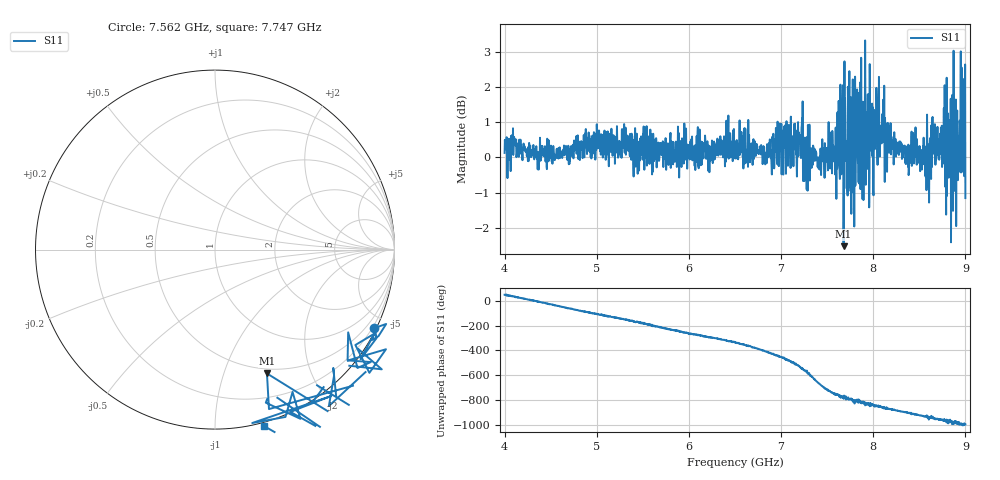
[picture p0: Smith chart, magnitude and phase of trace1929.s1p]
! Created with skrf 1.8.0 (http://scikit-rf.org).
# Hz S RI R 50.0
!freq ReS11 ImS11
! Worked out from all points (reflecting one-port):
!   1601 points, 4 GHz to 9 GHz, reference 50 ohm
!   lowest |S11| = -2.5 dB at 7.678 GHz (marker M1), VSWR 6.94, Z = 22.4 - j70.3 ohm
!   phase of S11 starts at 50 deg and turns -1048 deg over the sweep
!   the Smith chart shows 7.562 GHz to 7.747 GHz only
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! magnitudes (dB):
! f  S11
! 4 GHz  0.1
! 4.625 GHz  0.0
! 5.25 GHz  0.1
! 5.875 GHz  -0.1
! 6.5 GHz  0.5
! 7.125 GHz  0.6
! 7.209 GHz  0.6
! 7.262 GHz  0.2
! 7.284 GHz  0.6
! 7.416 GHz  0.0
! 7.678 GHz  -2.5
! 7.7 GHz  0.0
! 7.75 GHz  -0.8
! 7.784 GHz  0.8
! 7.822 GHz  0.9
! 7.875 GHz  0.8
! 7.891 GHz  0.7
! 7.909 GHz  1.2
! 7.962 GHz  2.6
! 7.981 GHz  0.6
! 8.038 GHz  1.6
! 8.375 GHz  0.0
! 8.441 GHz  -0.2
! 8.612 GHz  0.3
! 8.753 GHz  -0.2
! 8.919 GHz  -0.6
! 8.972 GHz  0.8
! 9 GHz  -1.2
